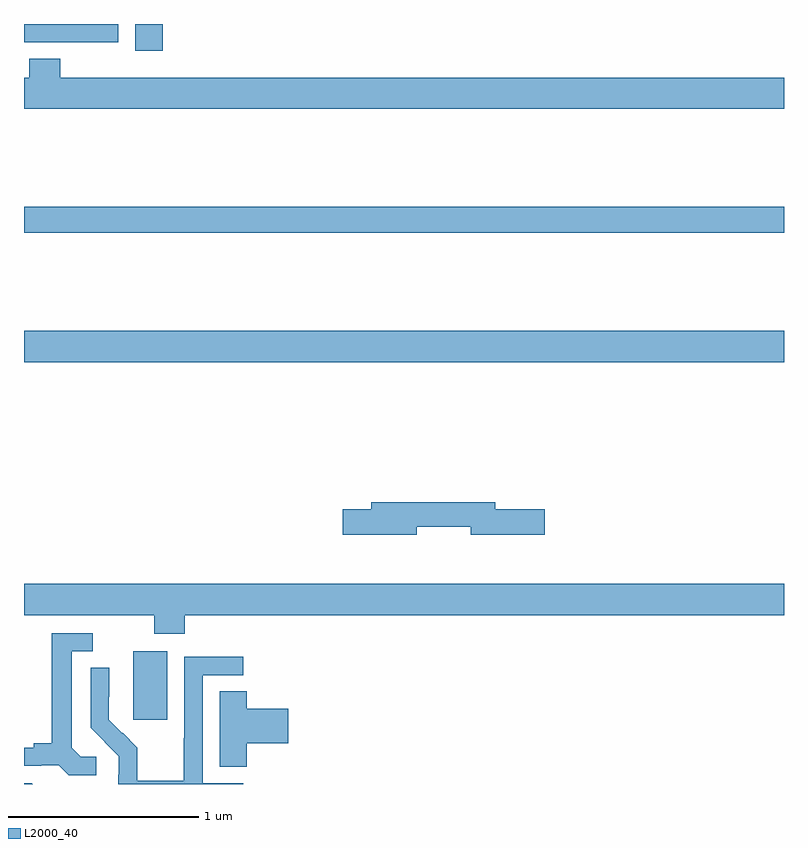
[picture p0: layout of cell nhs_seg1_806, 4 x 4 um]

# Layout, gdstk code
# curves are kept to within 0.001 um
import gdstk
lib = gdstk.Library(unit=1e-6, precision=1e-09)
def R(c, l, rs):  # rectangles x0, y0, x1, y1
    for r in rs: c.add(gdstk.rectangle(r[:2], r[2:], *l))
def P(c, l, *ps):  # polygons
    for p in ps: c.add(gdstk.Polygon(p, *l))
L2000_40 = (2000, 40)

nhs_seg1_806 = lib.new_cell('nhs_seg1_806')
R(nhs_seg1_806, L2000_40, [(155.576,528.537,155.755,528.898), (155,530.42,159,530.584), (155,531.1,159,531.236), (155.585,532.059,155.729,532.199)])
P(nhs_seg1_806, L2000_40, [(155.496,532.199),(155,532.199),(155,532.104),(155.275,532.104),(155.275,532.103),(155.496,532.103)],
  [(159,531.916),(155.192,531.916),(155.192,532.015),(155.027,532.015),(155.027,531.916),(155,531.916),(155,531.752),(159,531.752)],
  [(157.066,529.554),(157.352,529.554),(157.352,529.511),(157.741,529.511),(157.741,529.646),(157.48,529.646),(157.48,529.682),(156.827,529.682),(156.827,529.646),(156.678,529.646),(156.678,529.511),(157.066,529.511)],
  [(155.846,529.088),(159,529.088),(159,529.252),(155,529.252),(155,529.088),(155.686,529.088),(155.686,528.989),(155.846,528.989)],
  [(155.38,528.342),(155.298,528.342),(155.251,528.389),(155.251,528.897),(155.362,528.897),(155.362,528.993),(155.147,528.993),(155.147,528.413),(155.051,528.413),(155.051,528.39),(155,528.39),(155,528.294),(155.09,528.294),(155.09,528.297),(155.184,528.297),(155.236,528.245),(155.38,528.245)],
  [(156.154,528.204),(155.94,528.204),(155.94,528.771),(156.154,528.771),(156.154,528.87),(155.844,528.87),(155.844,528.44),(155.842,528.44),(155.842,528.217),(155.597,528.217),(155.597,528.391),(155.52,528.468),(155.517,528.465),(155.447,528.536),(155.448,528.812),(155.352,528.812),(155.352,528.494),(155.498,528.346),(155.498,528.249),(155.496,528.249),(155.496,528.199),(156.154,528.199)],
  [(156.173,528.413),(156.391,528.413),(156.391,528.596),(156.173,528.596),(156.173,528.686),(156.029,528.686),(156.029,528.289),(156.173,528.289)],
  [(155.04,528.204),(155,528.204),(155,528.199),(155.045,528.199)])

lib.write_gds('nhs_seg1_806.gds')
